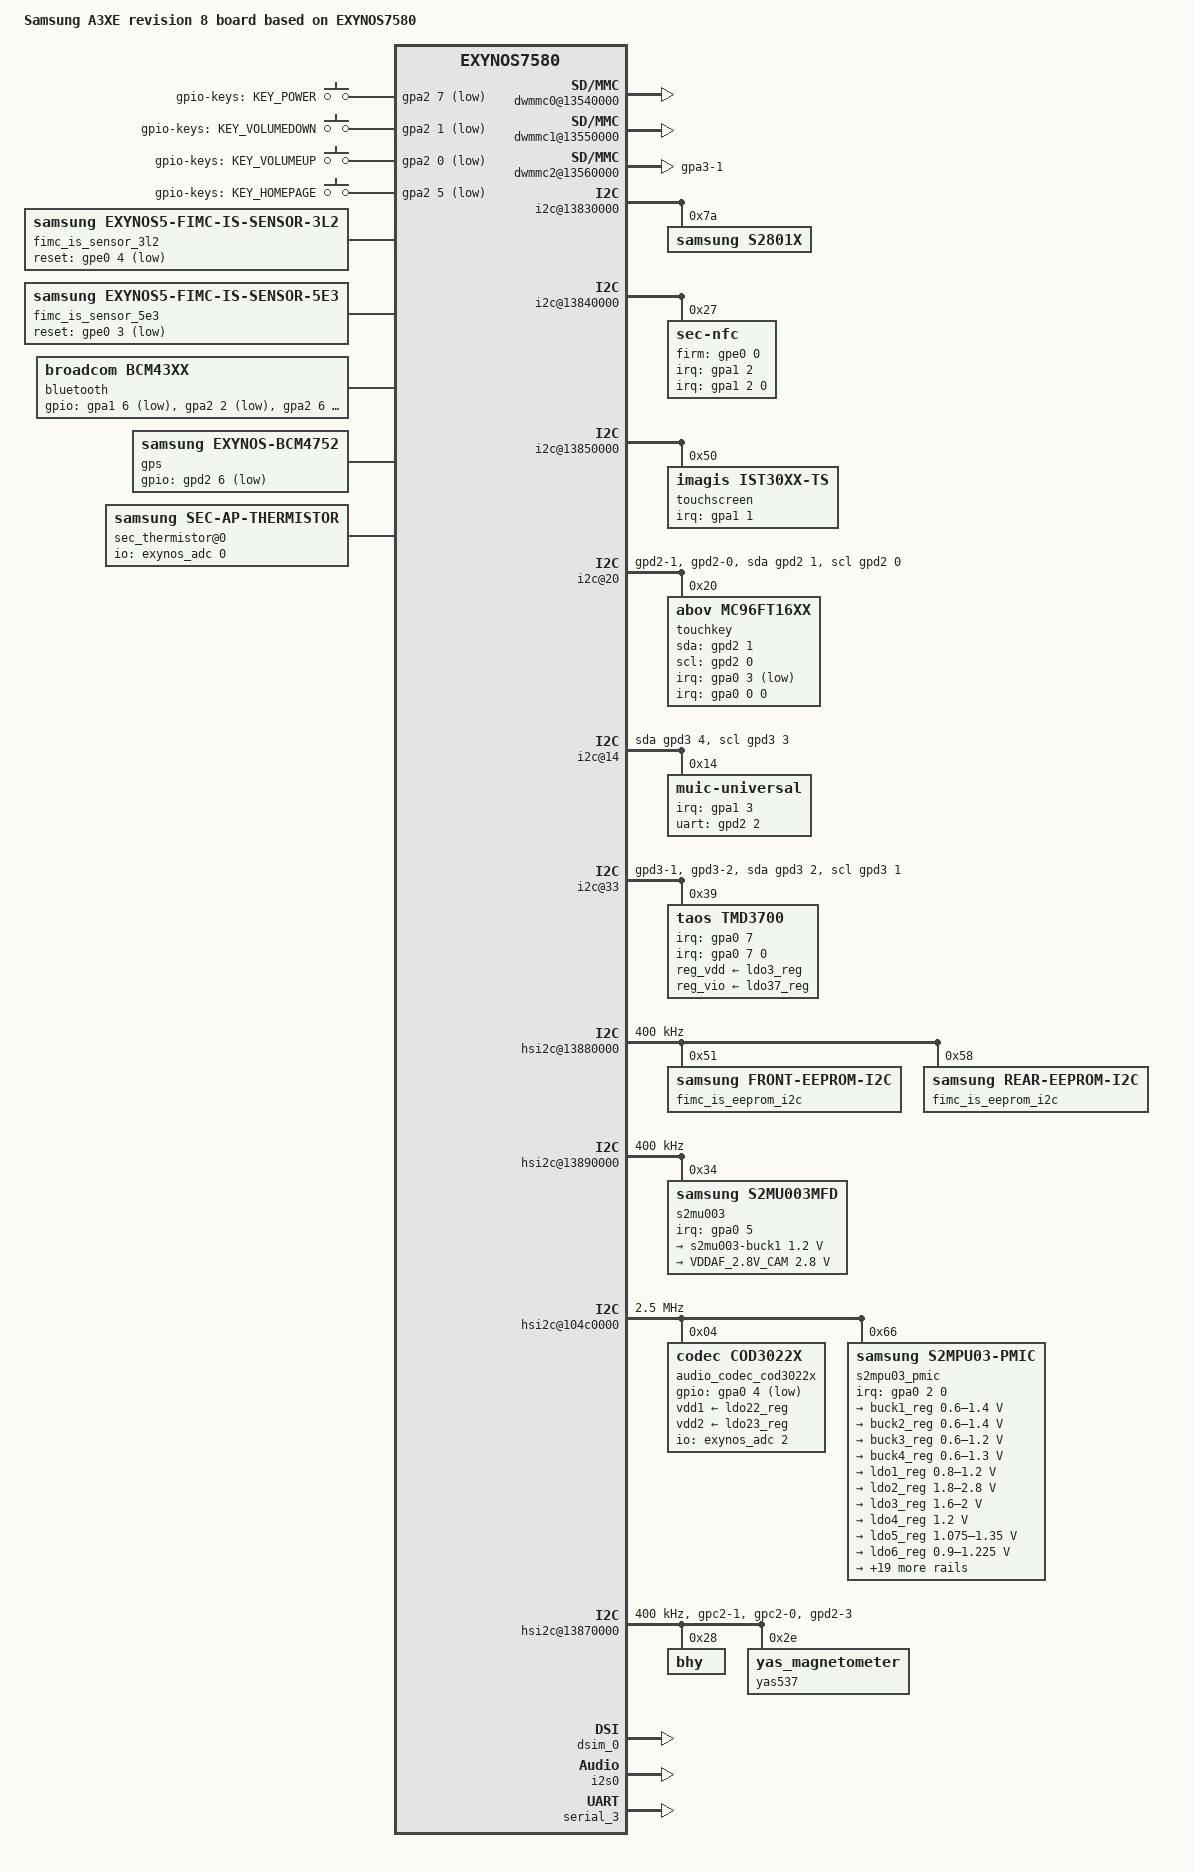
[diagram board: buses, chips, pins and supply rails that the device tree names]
/*
 * SAMSUNG A3XE board device tree source
 *
 * Copyright (c) 2014 Samsung Electronics Co., Ltd.
 *		http://www.samsung.com
 *
 * This program is free software; you can redistribute it and/or modify
 * it under the terms of the GNU General Public License version 2 as
 * published by the Free Software Foundation.
 */

/dts-v1/;
#include "exynos7580-reserve-1500MB.dtsi"
#include "exynos7580-q.dtsi"
#include "modem-isla-pdata.dtsi"
#include "exynos7580-a3xelte_battery_rev01.dtsi"
#include "exynos7580-a3xelte_eur_open_gpio_02.dtsi"

/ {
	model = "Samsung A3XE revision 8 board based on EXYNOS7580";
	model_info-chip = <7580>;
	model_info-platform = "android";
	model_info-subtype = "samsung";
	model_info-hw_rev = <8>;
	model_info-hw_rev_end = <255>;
	compatible = "samsung,exynos7580-universal7580,r01", "samsung,exynos7580";

	chosen {
		bootargs = "console=ttySAC1,115200n8 ess_setup=0x46000000 pmic_info=0x02";
		linux,initrd-start = <0x42000000>;
		linux,initrd-end = <0x421FFFFF>;
	};

	fixed-rate-clocks {
		oscclk {
			compatible = "samsung,exynos7580-oscclk";
			clock-frequency = <26000000>;
		};
	};

	dwmmc0@13540000 {
		status = "okay";
		num-slots = <1>;
		broken-cd;
		use-smu;
		fixed_volt;
		clock-gate;
		enable-cclk-on-suspend;
		only_once_tune;
		use-fine-tuning;
		ignore-phase = <(1 << 7)>;
		bypass-for-allpass;
		supports-highspeed;
		supports-hs200-mode;
		supports-ddr200-enhanced-strobe;
		supports-poweroff-notification;
		supports-ddr200-mode;
		enable-cache-control;
		use-enable-shift;
		enable-ulp-mode;
		desc-size = <4>;
		qos_int_level = <200000>;
		fifo-depth = <0x40>;
		card-detect-delay = <0>;
		data-timeout = <200>;
		samsung,dw-mshc-ciu-div = <3>;
		samsung,dw-mshc-sdr-timing = <3 0 2 0>;
		samsung,dw-mshc-ddr-timing = <3 0 2 2>;
		samsung,dw-mshc-hs200-timing = <3 0 3 0>;
		samsung,dw-mshc-ddr200-timing = <1 0 2 0>;
		samsung,dw-mshc-ddr200-ulp-timing = <3 0 3 0>;
		samsung,dw-mshc-ddr200-delay-line = <0x28>;
		samsung,dw-mshc-ddr200-tx-delay-line = <0x28>;
		samsung,dw-mshc-txdt-crc-timer-fastlimit = <0x34>;
		samsung,dw-mshc-txdt-crc-timer-initval = <0x38>;
		clk_pin = "gpr0-0";
		clk_addr = "13750000.pinctrl";
		clk_val = <0x2>;
		clk_str_num = <4>;
		num-ref-clks = <10>;
		ciu_clkin = <25 50 50 100 200 100 200 400 400 200>;
		pinctrl-names = "default";
		pinctrl-0 = <&sd0_clk &sd0_cmd &sd0_rdqs &sd0_bus1 &sd0_bus4 &sd0_bus8>;
		slot@0 {
			reg = <0>;
			bus-width = <8>;
		};
	};

	dwmmc1@13550000 {
		status = "okay";
		num-slots = <1>;
		channel = <1>;
		fixed_volt;
		clock-gate;
		enable-cclk-on-suspend;
		/* broken-cd; */
		caps-control;
		supports-highspeed;
	        /*supports-sdr104-mode;*/
		keep-power-in-suspend;
		pm-ignore-notify;
		cd-type-external;
		use-broken-voltage;
		use-fine-tuning;
		ignore-phase = <(1 << 7)>;
		fifo-depth = <0x40>;
		card-detect-delay = <200>;
		qos_int_level = <468000>;
		samsung,dw-mshc-ciu-div = <3>;
		samsung,dw-mshc-sdr-timing = <3 0 2 1>;
		samsung,dw-mshc-ddr-timing = <3 0 2 1>;
		clk_pin = "gpr2-0";
		clk_addr = "13750000.pinctrl";
		clk_val = <0x2>;
		clk_str_num = <4>;
		num-ref-clks = <8>;
		ciu_clkin = <25 50 50 100 200 100 200 400>;
		pinctrl-names = "default";
		pinctrl-0 = <&sd1_clk &sd1_cmd &sd1_bus1 &sd1_bus4>;
		slot@0 {
			reg = <0>;
			bus-width = <4>;
		};
	};

	dwmmc2@13560000 {
		status = "okay";
		num-slots = <1>;
		supports-highspeed;
		enable-cclk-on-suspend;
		supports-sdr104-mode;
		bypass-smu;
		use-fine-tuning;
		clock-gate;
		fifo-depth = <0x40>;
		card-detect-delay = <400>;
		data-timeout = <200>;
		ignore-phase = <(1 << 7)>;
		bypass-for-allpass;
		desc-size = <4>;
		samsung,dw-mshc-ciu-div = <3>;
		samsung,dw-mshc-sdr-timing = <3 0 2 0>;
		samsung,dw-mshc-ddr-timing = <3 0 2 1>;
		clk_pin = "gpr4-0";
		clk_addr = "13750000.pinctrl";
		clk_val = <0x2>;
		clk_str_num = <4>;
		num-ref-clks = <8>;
		ciu_clkin = <25 50 50 100 200 100 200 400>;
		pinctrl-names = "default", "output";
		pinctrl-0 = <&sd2_clk &sd2_cmd &sd2_bus1 &sd2_bus4 &dwmmc2_cd_ext_irq>;
		pinctrl-1 = <&sd2_clk_output &sd2_cmd_output &sd2_bus1 &sd2_bus4 &dwmmc2_cd_ext_irq>;
		cd-type-gpio;
		gpio-controller;
		sec-sd-slot-type = <2>; /* Hybrid SD slot */
		#gpio-cells = <2>;
		cd-gpio = <&gpa3 1 0xf>;
		slot@0 {
			reg = <0>;
			bus-width = <4>;
			disable-wp;
		};
	};

	gpio_keys{
		compatible = "gpio-keys";
		pinctrl-names = "default";
		pinctrl-0 = <&gpa2_pull_up_univ>;

		button@1 {
			label = "gpio-keys: KEY_POWER";
			interrupt-parent = <&gpa2>;
			linux,code = <116>;
			gpios = <&gpa2 7 0xf>;
			gpio-key,wakeup = <1>;
		};
		button@2 {
			label = "gpio-keys: KEY_VOLUMEDOWN";
			interrupt-parent = <&gpa2>;
			linux,code = <114>;
			gpios = <&gpa2 1 0xf>;
		};
		button@3 {
			label = "gpio-keys: KEY_VOLUMEUP";
			interrupt-parent = <&gpa2>;
			linux,code = <115>;
			gpios = <&gpa2 0 0xf>;
		};
		button@4 {
			label = "gpio-keys: KEY_HOMEPAGE";
			interrupt-parent = <&gpa2>;
			linux,code = <172>;
			gpios = <&gpa2 5 0xf>;
			gpio-key,wakeup = <1>;
		};
	};

	pinctrl@13750000 {
		sd0_clk: sd0-clk {
			samsung,pin-drv = <3>;
		};
		sd0_bus1: sd0-bus-width1 {
			samsung,pin-drv = <3>;
		};
		sd0_bus4: sd0-bus-width4 {
			samsung,pin-drv = <3>;
		};
		sd0_bus8: sd0-bus-width8 {
			samsung,pin-drv = <3>;
		};
		sd1_bus1: sd1-bus-width1 {
			samsung,pin-pud = <3>;
		};
		sd1_bus4: sd1-bus-width4 {
			samsung,pin-pud = <3>;
		};
	};

	pinctrl@139B0000 {
		pmic_irq: pmic-irq {
			samsung,pins = "gpa0-2";
			samsung,pin-pud = <3>;
			samsung,pin-drv = <3>;
		};
		cfg_irq: cfg-irq {
			samsung,pins = "gpa0-3";
			samsung,pin-function = <0xf>;
			samsung,pin-pud = <0>;
			samsung,pin-drv = <0>;
		};
		cfg_input: cfg-input {
			samsung,pins = "gpa0-3";
			samsung,pin-function = <0>;
			samsung,pin-pud = <0>;
			samsung,pin-drv = <0>;
		};
		cod3022_irq: cod3022-irq {
			samsung,pins = "gpa0-4";
			samsung,pin-pud = <3>;
			samsung,pin-drv = <3>;
		};
		if_irq: if-irq {
			samsung,pins = "gpa0-5";
			samsung,pin-pud = <0>;
			samsung,pin-drv = <0>;
		};
		prox_irq: prox_irq {
			samsung,pins = "gpa0-7";
			samsung,pin-function = <0x0>;
			samsung,pin-pud = <0>;
			samsung,pin-drv = <0>;
		};
		muic_irq: muic-irq {
			samsung,pins = "gpa1-3";
			samsung,pin-pud = <0>;
			samsung,pin-drv = <0>;
		};
		sub_det: sub-det {
			samsung,pins = "gpa1-7";
			samsung,pin-function = <0>;
			samsung,pin-pud = <0>;
			samsung,pin-drv = <0>;
		};
		bhy_int: bhy-int {
			samsung,pins = "gpa3-0";
			samsung,pin-function = <0>;
			samsung,pin-pud = <1>;
			samsung,pin-drv = <0>;
		};
		attn_input: attn-input {
			samsung,pins = "gpa1-1";
			samsung,pin-function = <0>;
			samsung,pin-pud = <0>;
			samsung,pin-drv = <0>;
		};
		attn_irq: attn-irq {
			samsung,pins = "gpa1-1";
			samsung,pin-function = <0xf>;
			samsung,pin-pud = <0>;
			samsung,pin-drv = <0>;
		};
		dwmmc2_cd_ext_irq: dwmmc2_cd_ext_irq {
			samsung,pins = "gpa3-1";
			samsung,pin-function = <0xf>;
			samsung,pin-pud = <0>;
			samsung,pin-drv = <0>;
		};
		certify_hall_irq: certify-hall-irq {
			samsung,pins = "gpa3-5";
			samsung,pin-function = <0xf>;
			samsung,pin-pud = <0>;
			samsung,pin-drv = <0>;
		};
		hall_irq: hall_irq {
			samsung,pins = "gpa3-6";
			samsung,pin-function = <0xf>;
			samsung,pin-pud = <0>;
			samsung,pin-drv = <0>;
		};
	};

	pinctrl@139C0000 {
		sensor_i2c: sensor_i2c {
			samsung,pins = "gpc2-1", "gpc2-0";
			samsung,pin-function = <2>;
			samsung,pin-pud = <0>;
		};
		cfg_i2c: cfg-i2c {
			samsung,pins = "gpd2-1", "gpd2-0";
			samsung,pin-function = <2>;
			samsung,pin-pud = <0>;
			samsung,pin-drv = <0>;
		};
		cfg_gpio: cfg-gpio {
			samsung,pins = "gpd2-1", "gpd2-0";
			samsung,pin-function = <0>;
			samsung,pin-pud = <0>;
			samsung,pin-drv = <0>;
		};
		sensor_pwr_en: sensor_pwr_en {
			samsung,pins = "gpd2-3";
			samsung,pin-function = <1>;
			samsung,pin-pud = <3>;
			samsung,pin-drv = <0>;
			samsung,pin-val = <1>;
		};
		/* Warm reset information from AP */
		pm_wrsti: pm-wrsti {
			samsung,pins = "gpe1-0";
			samsung,pin-con-pdn = <3>;
		};

		prox_i2c: prox_i2c {
			samsung,pins = "gpd3-1", "gpd3-2";
			samsung,pin-function = <0>;
			samsung,pin-pud = <0>;
			samsung,pin-drv = <0>;
		};

		dbmd_reset: dbmd-reset {
			samsung,pins ="gpf1-6";
			samsung,pin-function = <1>;
			samsung,pin-pud = <1>;
			samsung,pin-con-pdn =<3>;
			samsung,pin-pud-pdn = <1>;
			samsung,pin-val = <0>;
		};
		dbmd_wakeup: dbmd-wakeup {
			samsung,pins ="gpf1-7";
			samsung,pin-function = <1>;
			samsung,pin-pud = <1>;
			samsung,pin-con-pdn =<3>;
			samsung,pin-pud-pdn = <1>;
			samsung,pin-val = <0>;
		};
	};

	i2c@13830000 {
		samsung,i2c-sda-delay = <100>;
		samsung,i2c-max-bus-freq = <400000>;
		status = "okay";
		#address-cells = <1>;
		#size-cells = <0>;
		supports-bus-clear;

		s2801x: s2801x@7a {
			compatible = "samsung,s2801x";
			reg = <0x7a>;
			clocks = <&clock 154>,	/* sclk_audmixer */
				 <&clock 155>,	/* sclk_audmixer_bclk0*/
				 <&clock 156>,	/* sclk_audmixer_bclk1 */
				 <&clock 157>,	/* sclk_audmixer_bclk2 */
				 <&clock 152>,	/* bclk_mi2s */
				 <&clock 149>;	/* dout_audmixer*/

			clock-names = "audmixer_sysclk", "audmixer_bclk0",
					"audmixer_bclk1", "audmixer_bclk2",
					"mi2s_bclk", "audmixer_dout";
			sysreg-reset = <0x110F2000>;
			sysreg-i2c = <0x110F3000>;
			pinctrl-names = "default", "idle", "bt-idle";
			pinctrl-0 = <&i2s_pmic_bus
					&i2s2_codec_clk
					&pcm_bt_bus
					&pcm_bt1_bus>;
			pinctrl-1 = <&i2s_pmic_bus_idle
					&i2s2_codec_clk_idle
					&pcm_bt_bus_idle
					&pcm_bt1_bus_idle>;
			pinctrl-2 = <&i2s_pmic_bus
					&i2s2_codec_clk
					&pcm_bt_bus_idle
					&pcm_bt1_bus_idle>;
			samsung,lpass-subip;
		};
	};

	i2c@13840000 {
		status = "okay";
		samsung,i2c-sda-delay = <100>;
		samsung,i2c-max-bus-freq = <300000>;
		sec-nfc@27 {
			compatible = "sec-nfc";
			reg = <0x27>;
			interrupts = <2 0 0>;
			interrupt-parent = <&gpa1>;
			sec-nfc,nfc_pd = <&gpc3 2 0x2>;
			sec-nfc,firm-gpio = <&gpe0 0 0>;
			sec-nfc,irq-gpio = <&gpa1 2 0>;
			clkctrl-reg = <0x1046600C>;
			sec-nfc,nfc_clkreq = <&gpc3 3 0x2>;
			sec-nfc,i2c_1p8 = "ldo39";
			pinctrl-names = "default";
			pinctrl-0 = <&nfc_n5_firm &nfc_n5_clk_req &nfc_pd &nfc_int &ese_pwr_en>;
		};
	};

	i2c@13850000 {
		samsung,i2c-sda-delay = <100>;
		samsung,i2c-max-bus-freq = <400000>;
		status = "okay";
		#address-cells = <1>;
		#size-cells = <0>;
		touchscreen@50 {
			compatible = "imagis,ist30xx-ts";
			reg = <0x50>;
			pinctrl-names = "on_state", "off_state";
			pinctrl-0 = <&attn_irq>;
			pinctrl-1 = <&attn_input>;
			imagis,irq-gpio = <&gpa1 1 0>;
			imagis,regulator_avdd = "tsp_avdd";
			imagis,fw-bin = <1>;
			imagis,octa-hw = <1>;
			imagis,ic-version = "ist3032c";
			imagis,project-name = "a3x";
		};
	};

	i2c@20 {
		compatible = "i2c-gpio";
		gpios = <&gpd2 1 0
				&gpd2 0 0>;
		i2c-gpio,delay-us = <2>;
		#address-cells = <1>;
		#size-cells = <0>;
		status = "okay";
		pinctrl-names = "default","on_i2c","off_i2c";
		pinctrl-0 = <&cfg_i2c>;
		pinctrl-1 = <&cfg_i2c>;
		pinctrl-2 = <&cfg_gpio>;
		touchkey@20 {
			compatible = "abov,mc96ft16xx";
			pinctrl-names = "on_irq","off_irq","sub_det";
			pinctrl-0 = <&cfg_irq>;
			pinctrl-1 = <&cfg_input>;
			pinctrl-2 = <&sub_det>;
			reg = <0x20>;
			interrupts = <0 0 0>;
			interrupt-parent = <&gpa0>;
			abov,sda-gpio = <&gpd2 1 0>;
			abov,scl-gpio = <&gpd2 0 0>;
			abov,irq-gpio = <&gpa0 3 1>;
			abov,sub-det = <&gpa1 7 0>;
			abov,fw_path = "abov/abov_ft1604_a3.fw";
			abov,boot-on-ldo = "true";
		};
	};

	i2c@14 {
		compatible = "i2c-gpio";
		gpios = <&gpd3 4 0
			&gpd3 3 0>;
		i2c-gpio,delay-us = <5>;
		#address-cells = <1>;
		#size-cells = <0>;
		status = "okay";

		muic-universal@14 {
			status = "okay";
			compatible = "muic-universal";
			reg = <0x14>;
			pinctrl-names = "default";
			pinctrl-0 = <&muic_irq>;
			muic-universal,chip_name = "sm,sm5504";
			muic-universal,irq-gpio = <&gpa1 3 0>;
			muic-universal,uart-gpio = <&gpd2 2 0>;
			muic-universal,uart-ap = <0x1>;
		};
	};

	muic {
		status = "disabled";
		muic,support-list = "+OTG:GND",
					"-MHL:1K",
					"-VZW Accessory:28.7K",
					"-VZW Incompatible:34K",
					"-Smartdock:40.2K",
					"-HMT:49.9K",
					"-Audiodock:64.9K",
					"-USB LANHUB:80.07K",
					"+Charging Cable:102K",
					"-Universal Multimedia dock:121K",
					"+Jig USB Off:255K",
					"+Jig USB On:301K",
					"+Deskdock:365K",
					"+TYPE2 Charger:442K",
					"+Jig UART Off:523K",
					"+Jig UART On:619K",
					"+TA:OPEN",
					"+USB:OPEN",
					"+CDP:OPEN",
					"+Undefined Charging:XXX";
	};

i2c@33 {
		compatible = "i2c-gpio";
		gpios = <&gpd3 2 0	/* sda */
			       &gpd3 1 0>;	/* scl */
		pinctrl-names = "default";
		pinctrl-0 = <&prox_i2c>;
		i2c-gpio,scl-output-only;
		i2c-gpio,delay-us = <2>;
		#address-cells = <1>;
		#size-cells = <0>;
		status = "okay";

		tmd3700@39 {
			compatible = "taos,tmd3700";
			reg = <0x39>;
			pinctrl-names = "dafault";
			pinctrl-0 = <&prox_irq>;
			interrupts = <7 0 0>;
			interrupt-parent = <&gpa0>;
			taos,irq_gpio = <&gpa0 7 0x00>;
			reg_vdd-supply = <&ldo3_reg>;
			reg_vio-supply = <&ldo37_reg>;
			taos,prox_rawdata_trim = <0>;
			taos,prox_thresh_hi = <0x64>;
			taos,prox_thresh_low = <0x46>;
			taos,als_time = <0x38>;
			taos,intr_filter = <0>;
			taos,prox_pulsecnt = <0x06>;
			taos,als_gain = <2>;
			taos,lux_multiple = <11>;
		};
	};

	hsi2c@13880000 {
		status = "okay";
		clock-frequency = <400000>;
		fimc_is_eeprom_i2c@51{
			compatible = "samsung,front-eeprom-i2c";
			reg = <0x51>;
			use_i2c_pinctrl;
			fimc_is_front_eeprom_pinname = "139C0000.pinctrl";
			fimc_is_front_eeprom_sda = "gpc2-2";
			fimc_is_front_eeprom_scl = "gpc2-3";
			pinfunc_on = <2>;
			pinfunc_off = <0>;
		};
		fimc_is_eeprom_i2c@58 {
			compatible = "samsung,rear-eeprom-i2c";
			reg = <0x58>;
			use_i2c_pinctrl;
			fimc_is_rear_eeprom_pinname = "139C0000.pinctrl";
			fimc_is_rear_eeprom_sda = "gpc2-2";
			fimc_is_rear_eeprom_scl = "gpc2-3";
			pinfunc_on = <2>;
			pinfunc_off = <0>;
		};
	};

	hsi2c@13890000 {
		status = "okay";
		clock-frequency = <400000>;

		s2mu003@34 {
			compatible = "samsung,s2mu003mfd";
			reg = <0x34>;
			pinctrl-names = "default";
			pinctrl-0 = <&if_irq>;
			s2mu003,irq-gpio = <&gpa0 5 0>;

			regulators {
				s2mu003-buck1 {
					regulator-name = "s2mu003-buck1";
					regulator-min-microvolt = <1200000>;
					regulator-max-microvolt = <1200000>;
				};
				s2mu003-ldo1 {
					regulator-name = "VDDAF_2.8V_CAM";
					regulator-min-microvolt = <2800000>;
					regulator-max-microvolt = <2800000>;
				};
			};

			leds {
				compatible = "samsung,s2mu003led";
				torch-gpio = <&gpe0 1 0>;
				flash-gpio = <&gpe0 2 0>;
				pinctrl-names = "fled_default","fled_sleep";
				pinctrl-0 = <&fled_flash_active>;
				pinctrl-1 = <&fled_flash_sleep>;

				status = "okay";
				s2mu003-lvp-disable;
				s2mu003-leds1 {
					ledname = "leds-sec1";
					id = <0>;
					brightness = <0x17>;
					timeout = <0x0>;
					max-brightness = <0x15>;
				};

				s2mu003-leds2 {
					ledname = "leds-sec2";
					id = <1>;
					brightness = <0x02>;
					timeout = <0x0>;
					max-brightness = <0xf>;
				};
			};
		};
	};

	but_zones: but_zones {
		#list-but-cells = <3>;
	};

	hsi2c@104c0000 {
		status = "okay";
		samsung,hs-mode;
		clock-frequency = <2500000>;
		samsung,hsi2c-batcher;
		#address-cells = <1>;
		#size-cells = <0>;

		audio_codec_cod3022x: cod3022x@04 {
			compatible = "codec,cod3022x";
			reg = <0x04>;
			ten-bit-address;
			vdd1-supply = <&ldo22_reg>;
			vdd2-supply = <&ldo23_reg>;
			pinctrl-names = "default";
			pinctrl-0 = <&cod3022_irq>;
			interrupt-parent = <&gpa0>;
			gpios = <&gpa0 4 0xf>;
			/* Mic Bias: 0->2.1v, 1->2.5v, 2->2.6v, 3->3.0v */
			mic-bias1-voltage = <1>;
			mic-bias2-voltage = <1>;
			use-btn-adc-mode;
			io-channels = <&exynos_adc 2>;
			io-channel-names = "adc-jack";
			#io-channel-cells = <1>;
			io-channel-ranges;
			but-zones-list = <&but_zones 226 0 240>, /* send/end */
					<&but_zones 582 241 315>, /* google */
					<&but_zones 115 316 520>, /* vol up */
					<&but_zones 114 521 900>; /* vol down */
			mic-adc-range = <1380>;
			btn-release-value = <1000>;
			mic-det-delay = <50>;
		};

		s2mpu03_pmic@66 {
			compatible = "samsung,s2mpu03-pmic";
			reg = <0x66>;
			ten-bit-address;
			interrupts = <2 0 0>;
			interrupt-parent = <&gpa0>;
			pinctrl-names = "default";
			pinctrl-0 = <&pmic_irq &pm_wrsti>;
			g3d_en = <1>; /* 1 : enable , 0 : disable */
			/*
			buck4en_pin = "etc1-3";
			buck4en_addr = "1111111.pinctrl";
			*/
			/* RTC: wtsr/smpl */
			wtsr_en = <1>; /* enable */
			smpl_en = <1>; /* enable */
			wtsr_timer_val = <3>;   /* 1000ms */
			smpl_timer_val = <0>;   /* 100ms */
			check_jigon = <0>; /* do not check jigon */
			/* RTC: If it's first boot, reset rtc to 1/1/2015 12:00:00(Thu) */
			init_time,sec = <0>;
			init_time,min = <0>;
			init_time,hour = <12>;
			init_time,mday = <1>;
			init_time,mon = <0>;
			init_time,year = <115>;
			init_time,wday = <4>;

			regulators {
				buck1_reg: BUCK1 {
					regulator-name = "cpu-cluster.1";
					regulator-min-microvolt = <600000>;
					regulator-max-microvolt = <1400000>;
					regulator-always-on;
					regulator-boot-on;
					regulator-ramp-delay = <12000>;
					regulator-initial-mode = <1>;
				};

				buck2_reg: BUCK2 {
					regulator-name = "cpu-cluster.0";
					regulator-min-microvolt = <600000>;
					regulator-max-microvolt = <1400000>;
					regulator-always-on;
					regulator-boot-on;
					regulator-ramp-delay = <12000>;
					regulator-initial-mode = <1>;
				};

				buck3_reg: BUCK3 {
					regulator-name = "vdd_intmif";
					regulator-min-microvolt = <600000>;
					regulator-max-microvolt = <1200000>;
					regulator-always-on;
					regulator-boot-on;
					regulator-ramp-delay = <12000>;
					regulator-initial-mode = <1>;
				};

				buck4_reg: BUCK4 {
					regulator-name = "vdd_g3d";
					regulator-min-microvolt = <600000>;
					regulator-max-microvolt = <1300000>;
					regulator-always-on;
					regulator-boot-on;
					regulator-ramp-delay = <12000>;
					regulator-initial-mode = <1>;
				};

				ldo1_reg: LDO1 {
					regulator-name = "vdd_ldo1";
					regulator-min-microvolt = <800000>;
					regulator-max-microvolt = <1200000>;
					regulator-always-on;
					regulator-ramp-delay = <12000>;
					regulator-initial-mode = <3>;
				};

				ldo2_reg: LDO2 {
					regulator-name = "vqmmc";
					regulator-min-microvolt = <1800000>;
					regulator-max-microvolt = <2800000>;
					regulator-boot-on;
					regulator-ramp-delay = <12000>;
					regulator-initial-mode = <1>;
				};

				ldo3_reg: LDO3 {
					regulator-name = "vdd_ldo3";
					regulator-min-microvolt = <1600000>;
					regulator-max-microvolt = <2000000>;
					regulator-boot-on;
					regulator-always-on;
					regulator-ramp-delay = <12000>;
					regulator-initial-mode = <3>;
				};

				ldo4_reg: LDO4 {
					regulator-name = "vdd_ldo4";
					regulator-min-microvolt = <1200000>;
					regulator-max-microvolt = <1200000>;
					regulator-boot-on;
					regulator-always-on;
					regulator-ramp-delay = <12000>;
					regulator-initial-mode = <1>;
				};

				ldo5_reg: LDO5 {
					regulator-name = "vdd_ldo5";
					regulator-min-microvolt = <1075000>;
					regulator-max-microvolt = <1350000>;
					regulator-boot-on;
					regulator-always-on;
					regulator-ramp-delay = <12000>;
					regulator-initial-mode = <3>;
				};

				ldo6_reg: LDO6 {
					regulator-name = "vdd_ldo6";
					regulator-min-microvolt = <900000>;
					regulator-max-microvolt = <1225000>;
					regulator-boot-on;
					regulator-always-on;
					regulator-ramp-delay = <12000>;
					regulator-initial-mode = <1>;
				};

				ldo7_reg: LDO7 {
					regulator-name = "vdd_ldo7";
					regulator-min-microvolt = <1600000>;
					regulator-max-microvolt = <2000000>;
					regulator-boot-on;
					regulator-always-on;
					regulator-initial-mode = <1>;
				};

				ldo8_reg: LDO8 {
					regulator-name = "vdd_ldo8";
					regulator-min-microvolt = <3300000>;
					regulator-max-microvolt = <3300000>;
					regulator-boot-on;
					regulator-always-on;
					regulator-initial-mode = <1>;
				};

				ldo10_reg: LDO10 {
					regulator-name = "vdd_ldo10";
					regulator-min-microvolt = <800000>;
					regulator-max-microvolt = <1350000>;
					regulator-always-on;
					regulator-initial-mode = <1>;
				};

				ldo22_reg: LDO22 {
					regulator-name = "codec_ldo22";
					regulator-min-microvolt = <1000000>;
					regulator-max-microvolt = <2375000>;
					regulator-initial-mode = <3>;
				};

				ldo23_reg: LDO23 {
					regulator-name = "codec_ldo23";
					regulator-min-microvolt = <1000000>;
					regulator-max-microvolt = <2375000>;
					regulator-initial-mode = <3>;
				};

				ldo26_reg: LDO26 {
					regulator-name = "vmmc";
					regulator-min-microvolt = <2800000>;
					regulator-max-microvolt = <2800000>;
					regulator-boot-on;
					regulator-initial-mode = <1>;
				};

				ldo27_reg: LDO27 {
					regulator-name = "VDDIO_1.8V_CAM";
					regulator-min-microvolt = <1800000>;
					regulator-max-microvolt = <1800000>;
					regulator-initial-mode = <0>;
				};

				ldo28_reg: LDO28 {
					regulator-name = "vtouch_2.8v";
					regulator-min-microvolt = <2800000>;
					regulator-max-microvolt = <2800000>;
					regulator-boot-on;
				};

				ldo29_reg: LDO29 {
					regulator-name = "vtouch_3.3v";
					regulator-min-microvolt = <3300000>;
					regulator-max-microvolt = <3300000>;
					regulator-boot-on;
				};

				ldo30_reg: LDO30 {
					regulator-name = "LCD_3P0";
					regulator-min-microvolt = <3000000>;
					regulator-max-microvolt = <3000000>;
					regulator-boot-on;
					regulator-initial-mode = <3>;
				};

				ldo31_reg: LDO31 {
					regulator-name = "LCD_1P8";
					regulator-min-microvolt = <1800000>;
					regulator-max-microvolt = <1800000>;
					regulator-boot-on;
					regulator-initial-mode = <3>;
				};

				ldo32_reg: LDO32 {
					regulator-name = "VDD_VTCAM_1P2";
					regulator-min-microvolt = <1250000>;
					regulator-max-microvolt = <1250000>;
					regulator-initial-mode = <0>;
				};

				ldo33_reg: LDO33 {
					regulator-name = "tsp_avdd";
					regulator-min-microvolt = <3300000>;
					regulator-max-microvolt = <3300000>;
					regulator-boot-on;
				};

				ldo34_reg: LDO34 {
					regulator-name = "VDD_MOTOR_3P3";
					regulator-min-microvolt = <3300000>;
					regulator-max-microvolt = <3300000>;
				};

				ldo35_reg: LDO35 {
					regulator-name = "VDD_CAM_SENSOR_A2P8";
					regulator-min-microvolt = <2800000>;
					regulator-max-microvolt = <2800000>;
					regulator-initial-mode = <0>;
				};

				ldo36_reg: LDO36 {
					regulator-name = "VDD_CAM_1P2";
					regulator-min-microvolt = <1250000>;
					regulator-max-microvolt = <1250000>;
					regulator-initial-mode = <0>;
				};

				ldo37_reg: LDO37 {
					regulator-name = "ldo37";
					regulator-min-microvolt = <3300000>;
					regulator-max-microvolt = <3300000>;
					regulator-boot-on;
				};

				ldo38_reg: LDO38 {
					regulator-name = "ldo38";
					regulator-min-microvolt = <2800000>;
					regulator-max-microvolt = <2800000>;
					regulator-always-on;
					regulator-initial-mode = <1>;
				};

				ldo39_reg: LDO39 {
					regulator-name = "ldo39";
					regulator-min-microvolt = <1800000>;
					regulator-max-microvolt = <1800000>;
					regulator-initial-mode = <3>;
				};
			};
		};
	};

	pinctrl@139C0000 {
		hs_i2c1_bus: hs-i2c1-bus {
			samsung,pins = "gpc2-3", "gpc2-2";
			samsung,pin-function = <2>;
			samsung,pin-pud = <0>;
			samsung,pin-drv = <0>;
		};
		fled_flash_sleep: fled-flash-sleep {
			samsung,pins = "gpe0-2", "gpe0-1";
			samsung,pin-function = <2>;
			samsung,pin-pud = <1>;
			samsung,pin-drv = <0>;
		};
		fled_flash_active: fled-flash-active {
			samsung,pins = "gpe0-2", "gpe0-1";
			samsung,pin-function = <1>;
			samsung,pin-pud = <1>;
			samsung,pin-drv = <0>;
		};
	};

	fimc_is_sensor_3l2: fimc-is_sensor_3l2@0 {
		compatible = "samsung,exynos5-fimc-is-sensor-3l2";

		pinctrl-names = "pin0", "pin1";
		pinctrl-0 = <&fimc_is_mclk0_fn &fimc_is_i2c0 &fimc_is_i2c1>; /* rear on */
		pinctrl-1 = <&fimc_is_mclk0_in>; /* rear off */

		position = <0>; /* Rear:0. Front:1 */
		id = <0>; /* bns_id */
		mclk_ch = <0>;
		sensor_i2c_ch = <0>; /* I2C 0 */
		sensor_i2c_addr = <0x5A>;

		gpio_reset = <&gpe0 4 0x1>; /* sensor reset */
		status = "okay";

		af {
			product_name = <13>; /* DW9807 */
			i2c_addr = <0x18>;
			i2c_ch = <1>; /* I2C 1 */
		};

		flash {
			product_name = <11>; /* S2MU003 */
			flash_first_gpio = <2>;
			flash_second_gpio = <1>;
		};
	};

	fimc_is_sensor_5e3: fimc-is_sensor_5e3@0 {
		compatible = "samsung,exynos5-fimc-is-sensor-5e3";

		pinctrl-names = "pin0", "pin1";
		pinctrl-0 = <&fimc_is_mclk1_fn &fimc_is_i2c1>; /* front on */
		pinctrl-1 = <&fimc_is_mclk1_in>; /* front off */

		position = <1>; /* Rear:0. Front:1 */
		id = <1>; /* bns_id */
		mclk_ch = <1>;
		sensor_i2c_ch = <1>;
		sensor_i2c_addr = <0x0>;

		gpio_reset = <&gpe0 3 0x1>;
		status = "okay";
	};


	fimc_is_sensor0: fimc_is_sensor@144a0000 {
		scenario = <0>;
		id = <0>;
		mclk_ch = <0>;
		csi_ch = <0>;
		flite_ch = <0>;
		i2c_ch = <0>;
		i2c_addr = <0x0>;
		is_bns = <1>;
		status = "okay";
	};

	fimc_is_sensor1: fimc_is_sensor@144b0000 {
		scenario = <0>;
		id = <1>;
		mclk_ch = <1>;
		csi_ch = <1>;
		flite_ch = <1>;
		i2c_ch = <1>;
		i2c_addr = <0x0>;
		is_bns = <0>;
		status = "okay";
	};

	fimc_is@14400000 {
		rear_sensor_id = <8>; /* SENSOR_NAME_S5K3L2 */
		front_sensor_id = <17>; /* SENSOR_NAME_S5K5E3 */
		use_module_check;

		total_camera_num = <2>;
		camera_info0 {				// 0 : rear
			isp = <0>;				/* 0 : INT , 1 : EXT , 2 : SOC */
			cal_memory = <2>;		/* 0 : N , 1 : FROM , 2 : EEPROM , 3 : OTP  */
			read_version = <0>;		/* 0 : SYSFS , 1 : CAMON */
			core_voltage = <0>;		/* 0 : N , 1 : Y  */
			upgrade = <0>;			/* 0 : N , 1 : SYSFS , 2 : CAMON */
			companion = <0>;	/* 0 : N , 1 : Y  */
			ois = <0>;				/* 0 : N , 1 : Y  */
		};
		camera_info1 {				// 1 : front
			isp = <0>;				/* 0 : INT , 1 : EXT , 2 : SOC */
			cal_memory = <2>;		/* 0 : N , 1 : FROM , 2 : EEPROM , 3 : OTP  */
			read_version = <0>;		/* 0 : SYSFS , 1 : CAMON */
			core_voltage = <0>;		/* 0 : N , 1 : Y  */
			upgrade = <0>;			/* 0 : N , 1 : SYSFS , 2 : CAMON */
			companion = <0>;	/* 0 : N , 1 : Y  */
			ois = <0>;				/* 0 : N , 1 : Y  */
		};

		#define DVFS_INT_L0 400000
		#define DVFS_INT_L1 334000
		#define DVFS_INT_L2 267000
		#define DVFS_INT_L3 200000
		#define DVFS_INT_L4 160000
		#define DVFS_INT_L5 134000
		#define DVFS_INT_L6 111000
		#define DVFS_INT_L7 100000

		#define DVFS_CAM_L0 530000
		#define DVFS_CAM_L1 430000
		#define DVFS_CAM_L2 400000
		#define DVFS_CAM_L3 334000
		#define DVFS_CAM_L4 267000
		#define DVFS_CAM_L5 200000

		#define DVFS_MIF_L0 825000
		#define DVFS_MIF_L1 728000
		#define DVFS_MIF_L2 667000
		#define DVFS_MIF_L3 559000
		#define DVFS_MIF_L4 416000
		#define DVFS_MIF_L5 338000
		#define DVFS_MIF_L6 273000
		#define DVFS_MIF_L7 200000

		fimc_is_dvfs {
			default_int = <DVFS_INT_L0>;
			default_cam = <DVFS_CAM_L0>;
			default_mif = <DVFS_MIF_L0>;
			default_i2c = <0>;

			front_preview_int = <DVFS_INT_L3>;
			front_preview_cam = <DVFS_CAM_L4>;
			front_preview_mif = <DVFS_MIF_L3>;
			front_preview_i2c = <0>;

			front_capture_int = <DVFS_INT_L3>;
			front_capture_cam = <DVFS_CAM_L4>;
			front_capture_mif = <DVFS_MIF_L3>;
			front_capture_i2c = <0>;

			front_video_int = <DVFS_INT_L3>;
			front_video_cam = <DVFS_CAM_L4>;
			front_video_mif = <DVFS_MIF_L3>;
			front_video_i2c = <0>;

			front_video_whd_int = <DVFS_INT_L3>;
			front_video_whd_cam = <DVFS_CAM_L4>;
			front_video_whd_mif = <DVFS_MIF_L3>;
			front_video_whd_i2c = <0>;

			front_video_capture_int = <DVFS_INT_L3>;
			front_video_capture_cam = <DVFS_CAM_L4>;
			front_video_capture_mif = <DVFS_MIF_L3>;
			front_video_capture_i2c = <0>;

			front_video_whd_capture_int = <DVFS_INT_L0>;
			front_video_whd_capture_cam = <DVFS_CAM_L0>;
			front_video_whd_capture_mif = <DVFS_MIF_L0>;
			front_video_whd_capture_i2c = <0>;

			front_vt1_int = <DVFS_INT_L3>;
			front_vt1_cam = <DVFS_CAM_L4>;
			front_vt1_mif = <DVFS_MIF_L3>;
			front_vt1_i2c = <0>;

			front_vt2_int = <DVFS_INT_L3>;
			front_vt2_cam = <DVFS_CAM_L4>;
			front_vt2_mif = <DVFS_MIF_L3>;
			front_vt2_i2c = <0>;

			rear_preview_fhd_int = <DVFS_INT_L3>;
			rear_preview_fhd_cam = <DVFS_CAM_L2>;
			rear_preview_fhd_mif = <DVFS_MIF_L2>;
			rear_preview_fhd_i2c = <0>;

			rear_preview_whd_int = <DVFS_INT_L0>;
			rear_preview_whd_cam = <DVFS_CAM_L0>;
			rear_preview_whd_mif = <DVFS_MIF_L0>;
			rear_preview_whd_i2c = <0>;

			rear_preview_uhd_int = <DVFS_INT_L0>;
			rear_preview_uhd_cam = <DVFS_CAM_L0>;
			rear_preview_uhd_mif = <DVFS_MIF_L0>;
			rear_preview_uhd_i2c = <0>;

			rear_capture_int = <DVFS_INT_L3>;
			rear_capture_cam = <DVFS_CAM_L2>;
			rear_capture_mif = <DVFS_MIF_L2>;
			rear_capture_i2c = <0>;

			rear_video_fhd_int = <DVFS_INT_L3>;
			rear_video_fhd_cam = <DVFS_CAM_L2>;
			rear_video_fhd_mif = <DVFS_MIF_L2>;
			rear_video_fhd_i2c = <0>;

			rear_video_uhd_int = <DVFS_INT_L0>;
			rear_video_uhd_cam = <DVFS_CAM_L0>;
			rear_video_uhd_mif = <DVFS_MIF_L0>;
			rear_video_uhd_i2c = <0>;

			rear_video_fhd_capture_int = <DVFS_INT_L3>;
			rear_video_fhd_capture_cam = <DVFS_CAM_L2>;
			rear_video_fhd_capture_mif = <DVFS_MIF_L2>;
			rear_video_fhd_capture_i2c = <0>;

			rear_video_uhd_capture_int = <DVFS_INT_L0>;
			rear_video_uhd_capture_cam = <DVFS_CAM_L0>;
			rear_video_uhd_capture_mif = <DVFS_MIF_L0>;
			rear_video_uhd_capture_i2c = <0>;

			dual_preview_int = <DVFS_INT_L0>;
			dual_preview_cam = <DVFS_CAM_L0>;
			dual_preview_mif = <DVFS_MIF_L0>;
			dual_preview_i2c = <0>;

			dual_capture_int = <DVFS_INT_L0>;
			dual_capture_cam = <DVFS_CAM_L0>;
			dual_capture_mif = <DVFS_MIF_L0>;
			dual_capture_i2c = <0>;

			dual_video_int = <DVFS_INT_L0>;
			dual_video_cam = <DVFS_CAM_L0>;
			dual_video_mif = <DVFS_MIF_L0>;
			dual_video_i2c = <0>;

			dual_video_capture_int = <DVFS_INT_L0>;
			dual_video_capture_cam = <DVFS_CAM_L0>;
			dual_video_capture_mif = <DVFS_MIF_L0>;
			dual_video_capture_i2c = <0>;

			preview_high_speed_fps_int = <DVFS_INT_L0>;
			preview_high_speed_fps_cam = <DVFS_CAM_L0>;
			preview_high_speed_fps_mif = <DVFS_MIF_L0>;
			preview_high_speed_fps_i2c = <0>;

			video_high_speed_60fps_int = <DVFS_INT_L3>;
			video_high_speed_60fps_cam = <DVFS_CAM_L2>;
			video_high_speed_60fps_mif = <DVFS_MIF_L2>;
			video_high_speed_60fps_i2c = <0>;

			video_high_speed_120fps_int = <DVFS_INT_L3>;
			video_high_speed_120fps_cam = <DVFS_CAM_L4>;
			video_high_speed_120fps_mif = <DVFS_MIF_L3>;
			video_high_speed_120fps_i2c = <0>;

			max_int = <DVFS_INT_L0>;
			max_cam = <DVFS_CAM_L0>;
			max_mif = <DVFS_MIF_L0>;
			max_i2c = <0>;
		};
	};

	hsi2c@13870000 {
		status = "okay";
		/*samsung,hs-mode;*/
		clock-frequency = <400000>;
		#address-cells = <1>;
		#size-cells = <0>;
		pinctrl-names = "default";
		pinctrl-0 = <&sensor_i2c &sensor_pwr_en>;

		bhy@28 {
			compatible = "bhy";
			pinctrl-names = "default";
			pinctrl-0 = <&bhy_int>;
			bhy,gpio_irq = <&gpa3 0 0x00>;
			bhy,ldo_enable = <&gpd2 3 0x01>;
			reg = <0x28>;
		};

		yas537@2e {
			compatible = "yas_magnetometer";
			reg = <0x2e>;
			yas,orientation = <1>;
			yas,softiron = <10383 414 79 144 9480 218 223 229 10446>;
			yas,softiron_sign = <2 0 0 0 2 0 2 2 2>;
		};
	};

	ion {
		compatible = "samsung,exynos5430-ion";
	};

	decon_fb@14830000 {
		/* XEINT7, GPIO & pin control */
		gpios = <&gpd0 7 0xf>;
		psr_mode = <2>;		/* 0: video mode, 1: DP command mode, 2: MIPI command mode */
		disp-pll-clk = <63000000>;
		/* gpio_err = <&gpa3 7 0x2>; */
		gpio_pcd = <&gpd2 4 0x1>;
		/* gpio_det = <&gpa0 6 0x1>; */
		/* gpio_id = <&gpa3 2 0>; */
		status = "okay";
	};

	dsim_0: dsim@14800000 {
		lcd_info = <&s6e3aa2>;
		decon_board = <&decon_board_list>;
		status = "okay";
	};

	decon_board_list: decon_board_list {
		dsim_set_panel_power_enable {
			type = "regulator,enable", "regulator,enable", "delay,usleep", "pinctrl,turnon_tes";
			delay = <10000 11000>;
			regulator = "LCD_3P0", "LCD_1P8";
		};
		dsim_set_panel_power_disable {
			type = "pinctrl,turnoff_tes", "gpio,low", "regulator,disable", "regulator,disable";
			gpios = <&gpd1 3 0x1>;
			regulator = "LCD_1P8", "LCD_3P0";
		};
		dsim_reset_panel {
			type = "gpio,high", "delay,usleep", "gpio,low", "delay,usleep", "gpio,high", "delay,usleep";
			gpios = <&gpd1 3 0x1>, <&gpd1 3 0x1>, <&gpd1 3 0x1>;
			delay = <5000 6000>, <5000 6000>, <10000 11000>;
		};
	};

	pinctrl@139C0000 {
		disp_pcd: disp_pcd {
			samsung,pins = "gpd2-4";
			samsung,pin-function = <0xf>;
		};
		disp_pcd_off: disp_pcd_off {
			samsung,pins = "gpd2-4";
			samsung,pin-function = <1>;
			samsung,pin-val = <0>;
		};
	};

	s6e3aa2: s6e3aa2_hd {
		mode = <2>;
		resolution = <720 1280>;
		size = <59 105>;
		timing,refresh = <60>;
		timing,h-porch = <1 1 1>;
		timing,v-porch = <12 1 1>;
		timing,dsi-hs-clk = <500>;
		timing,dsi-escape-clk = <16>;
		mic = <0>;

		pinctrl-names = "off", "on";
		pinctrl-0 = <&disp_pcd_off>;
		pinctrl-1 = <&disp_pcd>;
	};

	i2s0: i2s@11040000 {
		status = "okay";
	};

	audio_cp_dummy: cp_dummy {
		compatible = "samsung,cp_dummy";
		status = "okay";
	};

	audio_bt_dummy: bt_dummy {
		compatible = "samsung,bt_dummy";
		status = "okay";
	};

	audio_fm_dummy: fm_dummy {
		compatible = "samsung,fm_dummy";
		status = "okay";
	};

	audio_codec_dummy: dummy-codec {
		compatible = "samsung,dummy-codec";
		status = "okay";
	};

	sound {
		compatible = "samsung,universal7580-cod3022x";
		samsung,audio-cpu = <&i2s0	/* primary */
					&i2s0	/* secondary */
					&audio_cp_dummy
					&audio_bt_dummy
					&audio_fm_dummy
					&eax
					&eax>;
		samsung,audio-codec = <&audio_codec_cod3022x
					&audio_codec_cod3022x
					&audio_codec_cod3022x
					&audio_codec_dummy
					&audio_codec_cod3022x
					&audio_codec_cod3022x
					&audio_codec_cod3022x>;
		samsung,auxdev = <&s2801x>;
		clocks = <&clock 151>;		 /* sclk_i2s */
		clock-names = "codec_bclk";
		mic-bias-mode = <1 2 1>;
		pinctrl-names = "default";
		status = "okay";
	};

	usb_notifier {
		compatible = "samsung,usb-notifier";
	};

	sec_vib {
		compatible = "sec_vib";
		sec_vib_pdata {
			status = "okay";
			sec_vib,max_timeout = <10000>;
			sec_vib,regulator = "VDD_MOTOR_3P3";
		};
	};

	serial_2: uart@13820000 {
		status = "disabled";
	};

	serial_3: uart@11060000 {
		/* Enable AUD-UART for Bluetooth */
		pinctrl-0 = <&uart_bt_active &uart_bt_output_sleep &uart_bt_input_sleep>;
		status = "okay";
	};

	pinctrl@139B0000 {
		bt_en_2: bt-en-2 {
			samsung,pins = "gpa1-6";
			samsung,pin-function = <1>;
			samsung,pin-pud = <0>;
		};
	};

	bluetooth {
		compatible = "broadcom,bcm43xx";
		gpios = <&gpa1 6 0x1	/*BT_EN*/
				&gpa2 2 0x1	/*BT_WAKE*/
				&gpa2 6 0xF	/*BT_HOST_WAKE*/ >;
		pinctrl-names = "default";
		pinctrl-0=<&bt_hostwake &bt_btwake &bt_en_2>;
		status = "okay";
	};

	hall {
		compatible = "hall";
		pinctrl-names = "default";
		pinctrl-0 = <&hall_irq>;
		hall,gpio_flip_cover = <&gpa3 6 0x0>;
		status = "okay";
	};

	certify_hall {
		status = "okay";
		compatible = "certify_hall";
		pinctrl-names = "default";
		pinctrl-0 = <&certify_hall_irq>;
		certify_hall,gpio_certify_cover = <&gpa3 5 0x0>;
	};

	input_booster {
		status = "okay";
		compatible = "input_booster";
		#address-cells = <1>;
		#size-cells = <0>;

		booster_key@1 {
			input_booster,label = "KEY";
			input_booster,type = <0>;	/* BOOSTER_DEVICE_KEY */

			input_booster,levels = <1>;

			/* Frequency table */
			/* for level	:	1_Head */
			input_booster,cpu_freqs = <1200000>;
			input_booster,hmp_boost = <0>;
			input_booster,kfc_freqs = <1200000>;
			input_booster,mif_freqs = <0>;
			input_booster,int_freqs = <0>;

			/* Time table */
			input_booster,head_times = <500>;
			input_booster,tail_times = <500>;
			input_booster,phase_times = <0>;
		};
		booster_key@2 {
			input_booster,label = "TOUCHKEY";
			input_booster,type = <1>;	/* BOOSTER_DEVICE_TOUCHKEY */

			input_booster,levels = <1>;

			/* Frequency table */
			/* for level	:	1_Head */
			input_booster,cpu_freqs = <1200000>;
			input_booster,hmp_boost = <0>;
			input_booster,kfc_freqs = <1200000>;
			input_booster,mif_freqs = <0>;
			input_booster,int_freqs = <0>;

			/* Time table */
			input_booster,head_times = <0>;
			input_booster,tail_times = <200>;
			input_booster,phase_times = <0>;
		};
		booster_key@3 {
			input_booster,label = "TOUCH";
			input_booster,type = <2>;	/* BOOSTER_DEVICE_TOUCH */

			input_booster,levels = <1 2 3>;

			/* Frequency table */
			/* for level	:	1_Head, 2_Head, 2_Tail */
			input_booster,cpu_freqs = <1200000 1200000 1000000>;
			input_booster,hmp_boost = <0 0 0>;
			input_booster,kfc_freqs = <1200000 1200000 1000000>;
			input_booster,mif_freqs = <0 0 0>;
			input_booster,int_freqs = <0 0 0>;

			/* Time table */
			input_booster,head_times = <200 200 0>;
			input_booster,tail_times = <300 300 0>;
			input_booster,phase_times = <0 0 0>;
		};
		booster_key@4 { // Input Booster +
			input_booster,label = "MULTITOUCH";
			input_booster,type = <3>;	/* BOOSTER_DEVICE_MULTITOUCH */

			input_booster,levels = <1 2>;

			/* Frequency table */
			/* for level	:	1_Head 2_Tail*/
			input_booster,cpu_freqs = <1400000 1000000>;
			input_booster,hmp_boost = <0 0>;
			input_booster,kfc_freqs = <1400000 1000000>;
			input_booster,mif_freqs = <0 0>;
			input_booster,int_freqs = <0 0>;

			/* Time table */
			input_booster,head_times = <1000 1000>;
			input_booster,tail_times = <500 500>;
			input_booster,phase_times = <0 0>;
		};
		booster_key@5 {
			input_booster,label = "KEYBOARD";
			input_booster,type = <4>;	/* BOOSTER_DEVICE_KEYBOARD */

			input_booster,levels = <1 2>;

			/* Frequency table */
			/* for level	:	1_Head 2_Tail*/
			input_booster,cpu_freqs = <1200000 1200000>;
			input_booster,hmp_boost = <0 0>;
			input_booster,kfc_freqs = <1200000 1200000>;
			input_booster,mif_freqs = <0 0>;
			input_booster,int_freqs = <0 0>;

			/* Time table */
			input_booster,head_times = <130 130>;
			input_booster,tail_times = <0 0>;
			input_booster,phase_times = <0 0>;
		};
		booster_key@6 {
			input_booster,label = "MOUSE";
			input_booster,type = <5>;	/* BOOSTER_DEVICE_MOUSE */

			input_booster,levels = <1 2>;

			/* Frequency table */
			/* for level	:	1_Head 2_Tail*/
			input_booster,cpu_freqs = <1200000 1000000>;
			input_booster,hmp_boost = <0 0>;
			input_booster,kfc_freqs = <1200000 1000000>;
			input_booster,mif_freqs = <0 0>;
			input_booster,int_freqs = <0 0>;

			/* Time table */
			input_booster,head_times = <130 130>;
			input_booster,tail_times = <500 500>;
			input_booster,phase_times = <0 0>;
		};
		booster_key@7 {
			input_booster,label = "MOUSE WHEEL";
			input_booster,type = <6>;	/* BOOSTER_DEVICE_MOUSE */

			input_booster,levels = <1 2>;

			/* Frequency table */
			/* for level	:	1_Head 2_Tail*/
			input_booster,cpu_freqs = <1200000 0>;
			input_booster,hmp_boost = <0 0>;
			input_booster,kfc_freqs = <1200000 0>;
			input_booster,mif_freqs = <0 0>;
			input_booster,int_freqs = <0 0>;

			/* Time table */
			input_booster,head_times = <130 0>;
			input_booster,tail_times = <0 0>;
			input_booster,phase_times = <0 0>;
		};
		booster_key@8 {
			input_booster,label = "PEN & HOVER";
			input_booster,type = <7>;	/* BOOSTER_DEVICE_PEN & HOVER */

			input_booster,levels = <1 2>;

			/* Frequency table */
			/* for level	:	1_Head 2_Tail*/
			input_booster,cpu_freqs = <1200000 1000000>;
			input_booster,hmp_boost = <0 0>;
			input_booster,kfc_freqs = <1200000 1000000>;
			input_booster,mif_freqs = <0 0>;
			input_booster,int_freqs = <0 0>;

			/* Time table */
			input_booster,head_times = <130 130>;
			input_booster,tail_times = <500 500>;
			input_booster,phase_times = <0 0>;
		};
		booster_key@9 {
			input_booster,label = "GAMEPAD";
			input_booster,type = <8>;	/* BOOSTER_DEVICE_GAMEPAD */

			input_booster,levels = <1 2>;

			/* Frequency table */
			/* for level	:	1_Head 2_Tail*/
			input_booster,cpu_freqs = <1400000 1000000>;
			input_booster,hmp_boost = <0 0>;
			input_booster,kfc_freqs = <1400000 1000000>;
			input_booster,mif_freqs = <0 0>;
			input_booster,int_freqs = <0 0>;

			/* Time table */
			input_booster,head_times = <130 130>;
			input_booster,tail_times = <500 500>;
			input_booster,phase_times = <0 0>;
		}; // Input Booster -
		/* If you need to add new key type, add it this position */
	};

	pinctrl@139C0000 {
		uart0_rts: uart0-rts {
			samsung,pins = "gpb0-7";
			samsung,pin-function = <2>;
			samsung,pin-pud = <1>;
			samsung,pin-con-pdn = <3>;
			samsung,pin-pud-pdn = <1>;
		};

		uart0_cts: uart0-cts {
			samsung,pins = "gpb0-6";
			samsung,pin-function = <2>;
			samsung,pin-pud = <1>;
			samsung,pin-con-pdn = <3>;
			samsung,pin-pud-pdn = <1>;
		};

		uart0_tx: uart0-tx {
			samsung,pins = "gpb0-5";
			samsung,pin-function = <2>;
			samsung,pin-pud = <3>;
			samsung,pin-con-pdn = <3>;
			samsung,pin-pud-pdn = <3>;
		};

		uart0_rx: uart0-rx {
			samsung,pins = "gpb0-4";
			samsung,pin-function = <2>;
			samsung,pin-pud = <3>;
			samsung,pin-con-pdn = <3>;
			samsung,pin-pud-pdn = <3>;
		};
	};

	uart@13800000 {
		pinctrl-0 = <&uart0_rts &uart0_cts &uart0_tx &uart0_rx>;
	};

	gps {
		compatible = "samsung,exynos-bcm4752";
		gpios = <&gpd2 6 0x1>;
		status = "okay";
	};

	argos {
		compatible = "samsung,argos";
		#address-cells = <1>;
		/*  The device number should be assigned for each device, e.g. "boot_device@1" and "boot_device@2".
		    Duplicated number is not allowed. Please refer the below example. */

		/* Table Format should be
		 * <Throughput(Mbps) ARM_min ARM_max KFC_min KFC_max MIF INT Task IRQ>
		 * ARM_min : Big Core's minimum frequency lock. 0 means not set,
		 * ARM_max : Big Core's maximum frequency lock. 0 means not set,
		 * KFC_min : Little Core's minimum frequency lock. 0 means not set,
		 * KFC_max : Little Core's maximum frequency lock. 0 means not set,
		 * MIF : MIF frequency lock. 0 means not set,
		 * INT : INT frequency lock. 0 means not set,
		 * Task : 1 - Set task affinity lock.
		 *        0 - Not set or unlock,
		 *              Task affinity should be predefined driver's code.
		 * IRQ : 1 - Set irq affinity lock.
		 *       0 - Not set or unlock,
		 *              Task affinity should be predefined driver's code.
		 */
		boot_device@1 {
			net_boost,label="IPC";
			net_boost,node="rmnet0 rmnet1 rmnet2 rmnet3 rmnet4 rmnet5 rmnet6 rmnet7 umts_dm0";
			net_boost,table_size = <4>;
			net_boost,table= <  1 0 0 0 0 0 0 0 1
					   20 0 0 800000 0 416000 100000 0 1
					   50 0 0 1000000 0 825000 100000 0 1
					  100 0 0 1400000 0 825000 100000 0 1>;
		};
		 boot_device@2 {
			net_boost,label="P2P";
			net_boost,node="p2p-wlan0-0";
			net_boost,table_size = <3>;
			net_boost,table= <
				30 1200000 0 1200000 0 200000 0 0 0
				50 1500000 0 1500000 0 416000 100000 0 0
				90 1600000 0 1600000 0 825000 100000 1 1
				>;
		};
		boot_device@3 {
			net_boost,label="WIFI";
			net_boost,node="wlan0";
			net_boost,table_size = <3>;
			net_boost,table= <
				10 1000000 0 1000000 0 200000 0 0 0
				60 1600000 0 1600000 0 825000 100000 1 1
				120 1600000 0 1600000 0 825000 100000 1 1
				>;
		 };
		boot_device@4 {
			net_boost,label="USB";
			net_boost,node="rndis0";
			net_boost,table_size = <1>;
			net_boost,table= < 1 0 0 0 0 0 0 0 1 >;
		};
		/* Example
		   boot_device@2 {
		   net_boost,label="EMMC";
		   net_boost,node="";
		   net_boost,sysnode="/sys/class/mmc_host/mmc0/trans_count";
		   net_boost,table_size = <1>;
		   net_boost,table= <64 0 0 1300000 0 825000 400000 0 0>;
		   };
		   boot_device@3 {
		   net_boost,label="WIFI";
		   net_boost,node="wlan0";
		   net_boost,table_size = <3>;
		   net_boost,table= <60 1000000 0 800000 0 0 200000 0 0
		   100 1200000 0 1000000 0 0 200000 0 0
		   180 1700000 0 1100000 0 543000 267000 0 0>;
		   };
		   boot_device@4 {
		   net_boost,label="P2P";
		   net_boost,node="p2p-wlan0-0";
		   net_boost,table_size = <3>;
		   net_boost,table= <30 1000000 0 800000 0 0 200000 0 0
		   50 1200000 0 1000000 0 0 200000 0 0
		   90 1700000 0 1100000 0 543000 267000 0 0>;
		   };
		   boot_device@5 {
		   net_boost,label="CLAT";
		   net_boost,node="clat clat4";
		   net_boost,table_size = <3>;
		   net_boost,table= <120 1400000 0 0 0 825000 0 0 0
		   130 1500000 0 0 0 825000 0 0 0
		   150 1600000 0 0 0 825000 0 0 0>;
		   };
		 */
	};

	mif_pdata {
		pinctrl-names = "default";
		pinctrl-0 = <&cp_rst_n &ds_det>;

		/* To do: will be remove, for system revision */
		gpios = <&gpd0 0 0x0>,
		       <&gpd0 1 0x0>,
		       <&gpd0 2 0x0>,
		       <&gpd0 3 0x0>;

		modem_ctrl,gpio_cp_rst_n = <&gpe0 6 0x1>;
		mif,gpio_ds_det = <&gpd0 4 0x0>;

		mif,ap_clk_table = <
			/* khz */
			1600000
			1500000
			1400000
			1300000
			1200000
			1100000
			1000000
			900000
			800000
			700000
			600000
			500000
			400000
			300000
			>;

		mif,mif_clk_table = <
			/* khz */
			825000
			728000
			667000
			559000
			416000
			338000
			273000
			200000
			>;
	};

	pinctrl@139C0000 {
		ds_det: ds_det {
			samsung,pins = "gpd0-4";
			samsung,pin-function = <0>;	/* INPUT */
			samsung,pin-pud = <0>;
			samsung,pin-con-pdn = <3>;	/* PREV STATE */
			samsung,pin-pud-pdn = <0>;
		};

		cp_rst_n: cp_rst_n {
			samsung,pins = "gpe0-6";
			samsung,pin-function = <1>;	/* OUTPUT */
			samsung,pin-pud = <0>;		/* PU & PD DISABLE */
			samsung,pin-con-pdn = <1>;	/* OUTPUT 1 */
			samsung,pin-pud-pdn = <0>;	/* PU & PD DISABLE */
		};
	};

	sec_thermistor@0 {
		compatible = "samsung,sec-ap-thermistor";
		status = "okay";

		adc_array = <289 301 313 324 336 348 360 372 383 395
				407 423 438 454 470 486 501 517 533 548
				564 586 607 629 651 673 694 716 738 759
				781 805 828 852 875 899 930 961 992 1023
				1054 1087 1120 1154 1187 1220 1255 1289 1324 1358
				1393 1433 1472 1512 1551 1591 1631 1670 1710 1749
				1789 1832 1875 1918 1961 2004 2047 2090 2133 2176
				2219 2264 2309 2355 2400 2445 2490 2535 2581 2626
				2671 2708 2745 2782 2819 2856 2892 2929 2966 3003
				3040 3070 3100 3130 3160 3190 3216 3242 3267 3293
				3319 3341 3363 3384 3406 3428 3446 3463 3481 3498 3516>;
		temp_array = <900 890 880 870 860 850 840 830 820 810
					   800 790 780 770 760 750 740 730 720 710
					   700 690 680 670 660 650 640 630 620 610
					   600 590 580 570 560 550 540 530 520 510
					   500 490 480 470 460 450 440 430 420 410
					   400 390 380 370 360 350 340 330 320 310
					   300 290 280 270 260 250 240 230 220 210
					   200 190 180 170 160 150 140 130 120 110
					   100 90 80 70 60 50 40 30 20 10
					   0 (-10) (-20) (-30) (-40) (-50) (-60) (-70) (-80) (-90)
					   (-100) (-110) (-120) (-130) (-140) (-150) (-160) (-170) (-180) (-190) (-200)>;
		io-channels = <&exynos_adc 0>;
		io-channel-names = "adc-ap-temp";
		io-channel-ranges;
	};
};
